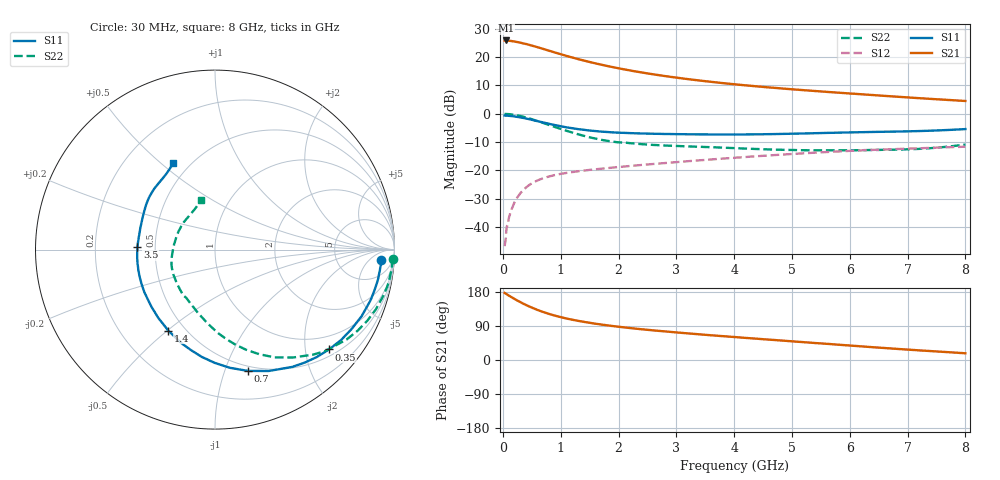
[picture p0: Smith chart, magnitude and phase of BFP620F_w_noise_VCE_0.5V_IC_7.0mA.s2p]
! Infineon Technologies  Discrete & RF Semiconductors
! BFP620F
! VCE =  0.5 V,  IC =  7.0 mA
! Common Emitter S-Parameters:  Dec 2014
# GHz  S  MA  R  50
!  f  S11  S21  S12  S22
! GHz  MAG  ANG  MAG  ANG  MAG  ANG  MAG  ANG
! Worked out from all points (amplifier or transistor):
!   95 points, 30 MHz to 8 GHz, reference 50 ohm
!   highest |S21| = 25.9 dB at 50 MHz (marker M1)
!   |S21| within 3 dB of that: start of sweep to 700.1 MHz
!   unconditionally stable (mu >= 1): 4.462 GHz to end of sweep
!   at 300 MHz: K = 0.12, MSG = 26.6 dB, |S12| = -28.1 dB
!   at 3.3 GHz: K = 0.91, MSG = 14.3 dB, |S12| = -16.6 dB
!   at 8 GHz: K = 1.11, MAG = 6.0 dB, |S12| = -11.6 dB
!   lowest NFmin = 0.55 dB at 450 MHz
!   S11 on the Smith chart (normalised r, x): 30 MHz: 15, -13; 350 MHz: 0.65, -2.52; 700 MHz: 0.45, -1.21; 1.4 GHz: 0.41, -0.50; 3.5 GHz: 0.40, +0.01; 8 GHz: 0.41, +0.55
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0.03  0.9287 -3.7  19.57 177.0  0.0046 83.5  0.9921 -3.0
0.05  0.9261 -6.3  19.67 175.0  0.0063 98.0  0.9903 -5.1
0.11  0.9178 -13.7  19.45 169.3  0.0154 84.7  0.983 -11.3
0.2  0.8973 -24.4  18.83 161.3  0.0272 77.0  0.9564 -20.3
0.25  0.8804 -30.2  18.45 156.9  0.0334 74.4  0.9362 -25.1
0.35  0.8445 -41.2  17.46 148.9  0.0448 68.5  0.8882 -34.3
0.45  0.8041 -51.5  16.51 141.6  0.0547 63.4  0.8328 -42.8
0.5  0.7828 -56.6  15.97 138.4  0.0592 61.3  0.8013 -46.9
0.6  0.7398 -66.1  14.95 132.0  0.0666 57.2  0.7414 -54.2
0.7  0.7008 -74.7  13.92 126.5  0.073 53.8  0.6859 -61.1
0.8  0.6639 -82.8  12.96 121.5  0.0782 50.9  0.6326 -67.1
1  0.6025 -97.0  11.26 113.1  0.0868 46.8  0.5403 -78.0
1.2  0.5555 -109.3  9.84 106.3  0.0934 44.0  0.466 -87.8
1.4  0.521 -120.0  8.695 100.7  0.0993 42.1  0.4079 -96.6
1.6  0.495 -129.6  7.757 95.8  0.1046 40.7  0.3647 -105.2
1.9  0.4689 -141.7  6.655 89.6  0.1121 39.6  0.3216 -117.3
2.7  0.4419 -165.3  4.795 76.8  0.1322 37.2  0.2783 -142.0
3.5  0.4321 178.1  3.758 66.5  0.1531 35.1  0.2588 -158.5
4.1  0.4308 167.5  3.242 59.5  0.1697 33.1  0.2451 -169.5
5.4  0.4539 148.9  2.52 44.8  0.2057 26.9  0.2266 164.3
6.7  0.4827 132.0  2.037 30.6  0.236 19.0  0.2318 136.7
8  0.5364 115.8  1.68 17.7  0.2619 11.2  0.286 105.6
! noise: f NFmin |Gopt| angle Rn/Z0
0.45  0.55  0.38  9  0.25
0.9  0.61  0.35  19  0.22
1.5  0.68  0.32  24  0.19
1.8  0.71  0.3  27  0.18
1.9  0.72  0.25  40  0.19
2.4  0.77  0.22  56  0.17
3.5  0.88  0.21  75  0.14
5.5  1.08  0.14  162  0.12
6  1.12  0.11  185  0.21
